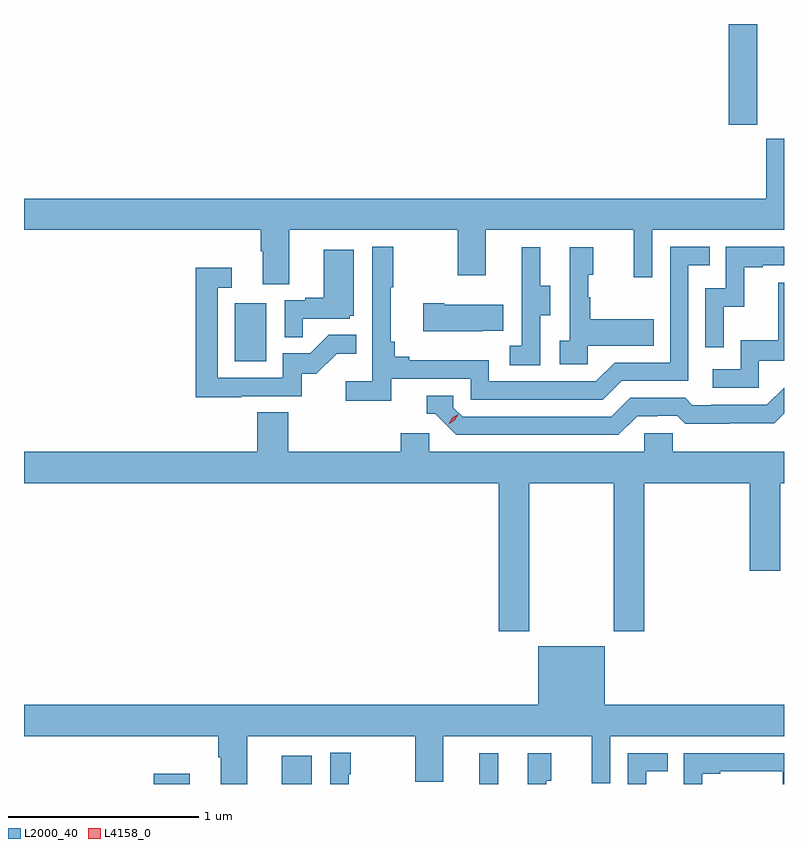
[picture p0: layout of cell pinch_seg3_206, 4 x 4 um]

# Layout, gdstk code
import gdstk
lib = gdstk.Library(unit=1e-6, precision=1e-09)
def R(c, l, rs):  # rectangles x0, y0, x1, y1
    for r in rs: c.add(gdstk.rectangle(r[:2], r[2:], *l))
def P(c, l, *ps):  # polygons
    for p in ps: c.add(gdstk.Polygon(p, *l))
L2000_40 = (2000, 40)
L4158_0 = (4158, 0)

pinch_seg3_206 = lib.new_cell('pinch_seg3_206')
R(pinch_seg3_206, L2000_40, [(964.093,739.292,964.282,739.345), (964.766,739.292,964.924,739.441), (965.807,739.292,965.905,739.453), (964.52,741.516,964.684,741.823), (967.118,742.761,967.27,743.292)])
P(pinch_seg3_206, L2000_40, [(964.807,742.208),(965.692,742.208),(965.692,741.969),(965.839,741.969),(965.839,742.208),(966.62,742.208),(966.62,741.96),(966.717,741.96),(966.717,742.208),(967.41,742.208),(967.41,742.689),(967.316,742.689),(967.316,742.372),(963.41,742.372),(963.41,742.208),(964.655,742.208),(964.655,742.096),(964.667,742.096),(964.667,741.922),(964.807,741.922)],
  [(965.342,741.426),(965.76,741.426),(965.76,741.315),(966.457,741.315),(966.556,741.414),(966.906,741.414),(966.906,742.023),(967.019,742.023),(967.019,742.119),(966.81,742.119),(966.81,741.51),(966.519,741.51),(966.42,741.411),(965.856,741.411),(965.856,741.523),(965.437,741.523),(965.437,741.542),(965.36,741.542),(965.36,741.619),(965.341,741.619),(965.341,741.907),(965.353,741.907),(965.353,742.12),(965.244,742.12),(965.244,741.412),(965.103,741.412),(965.103,741.31),(965.342,741.31)],
  [(967.092,741.803),(967.202,741.803),(967.202,742.011),(967.297,742.011),(967.297,742.023),(967.41,742.023),(967.41,742.119),(967.104,742.119),(967.104,741.9),(966.996,741.9),(966.996,741.591),(967.092,741.591)],
  [(966.378,741.599),(966.725,741.599),(966.725,741.739),(966.391,741.739),(966.391,741.854),(966.381,741.854),(966.381,741.972),(966.406,741.972),(966.406,742.117),(966.282,742.117),(966.282,741.626),(966.231,741.626),(966.231,741.501),(966.378,741.501)],
  [(966.126,741.76),(966.181,741.76),(966.181,741.915),(966.127,741.915),(966.127,742.117),(966.029,742.117),(966.029,741.903),(966.03,741.903),(966.03,741.599),(965.967,741.599),(965.967,741.496),(966.126,741.496)],
  [(964.877,741.741),(965.124,741.741),(965.124,741.756),(965.146,741.756),(965.146,742.105),(964.988,742.105),(964.988,741.85),(964.889,741.85),(964.889,741.837),(964.782,741.837),(964.782,741.643),(964.877,741.643)],
  [(964.553,741.333),(964.872,741.333),(964.872,741.45),(964.948,741.45),(965.055,741.557),(965.159,741.557),(965.159,741.656),(965.015,741.656),(964.917,741.558),(964.773,741.558),(964.773,741.429),(964.431,741.429),(964.431,741.903),(964.504,741.903),(964.504,742.009),(964.315,742.009),(964.315,741.328),(964.553,741.328)],
  [(967.278,741.519),(967.41,741.519),(967.41,741.931),(967.381,741.931),(967.381,741.628),(967.182,741.628),(967.182,741.474),(967.035,741.474),(967.035,741.378),(967.278,741.378)],
  [(965.825,741.677),(965.933,741.677),(965.933,741.814),(965.623,741.814),(965.623,741.822),(965.511,741.822),(965.511,741.674),(965.825,741.674)],
  [(966.637,741.228),(966.744,741.228),(966.744,741.231),(966.847,741.231),(966.889,741.189),(967.122,741.189),(967.122,741.191),(967.358,741.191),(967.41,741.243),(967.41,741.378),(967.32,741.288),(967.027,741.288),(967.027,741.285),(966.928,741.285),(966.889,741.324),(966.6,741.324),(966.501,741.225),(965.718,741.225),(965.67,741.273),(965.67,741.336),(965.531,741.336),(965.531,741.24),(965.574,741.24),(965.685,741.129),(966.538,741.129)],
  [(966.069,740.876),(966.514,740.876),(966.514,740.097),(966.674,740.097),(966.674,740.876),(967.229,740.876),(967.229,740.415),(967.389,740.415),(967.389,740.876),(967.41,740.876),(967.41,741.04),(966.825,741.04),(966.825,741.138),(966.675,741.138),(966.675,741.04),(965.544,741.04),(965.544,741.138),(965.393,741.138),(965.393,741.04),(964.802,741.04),(964.802,741.248),(964.637,741.248),(964.637,741.04),(963.41,741.04),(963.41,740.876),(965.909,740.876),(965.909,740.097),(966.069,740.097)],
  [(963.41,739.544),(964.433,739.544),(964.433,739.432),(964.445,739.432),(964.445,739.292),(964.585,739.292),(964.585,739.544),(965.47,739.544),(965.47,739.305),(965.617,739.305),(965.617,739.544),(966.398,739.544),(966.398,739.296),(966.495,739.296),(966.495,739.544),(967.41,739.544),(967.41,739.708),(966.466,739.708),(966.466,740.017),(966.116,740.017),(966.116,739.708),(963.41,739.708)],
  [(965.118,739.343),(965.131,739.343),(965.131,739.456),(965.022,739.456),(965.022,739.292),(965.118,739.292)],
  [(966.98,739.347),(967.075,739.347),(967.075,739.359),(967.404,739.359),(967.404,739.292),(967.41,739.292),(967.41,739.455),(966.882,739.455),(966.882,739.292),(966.98,739.292)],
  [(966.684,739.359),(966.797,739.359),(966.797,739.455),(966.588,739.455),(966.588,739.292),(966.684,739.292)],
  [(966.159,739.308),(966.184,739.308),(966.184,739.453),(966.06,739.453),(966.06,739.292),(966.159,739.292)])
P(pinch_seg3_206, L4158_0, [(965.646,741.187),(965.646,741.187),(965.663,741.22),(965.695,741.239),(965.695,741.239),(965.695,741.238),(965.678,741.206),(965.647,741.187)])

lib.write_gds('pinch_seg3_206.gds')
